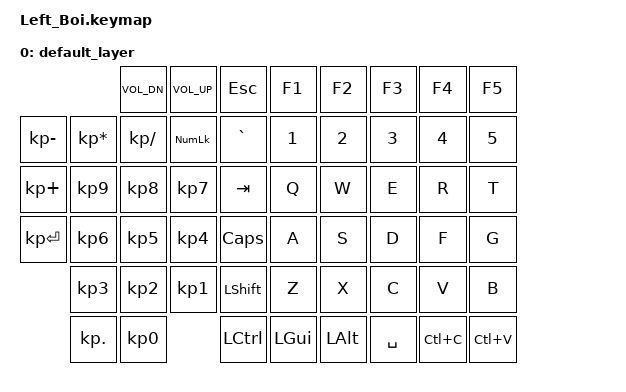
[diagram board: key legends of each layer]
/*
 * Copyright (c) 2020 The ZMK Contributors
 *
 * SPDX-License-Identifier: MIT
 */

#include <behaviors.dtsi>
#include <dt-bindings/zmk/bt.h>
#include <dt-bindings/zmk/keys.h>

/ {
    keymap {
        compatible = "zmk,keymap";

// ---------------------------------------------------------------------
// |  NA  |  NA  | MAC1 | MAC2 | |  ESC | F1  | F2  | F3  | F4  | F5  |       
// | Num- | Num* | Num/ | NumL | |   ~  |  1  |  2  |  3  |  4  |  5  |       
// | Num+ | Num9 | Num8 | Num7 | |  TAB |  Q  |  W  |  E  |  R  |  T  |      
// | NumE | Num6 | Num5 | Num4 | | CAPS |  A  |  S  |  D  |  F  |  G  |      
// |  NA  | Num3 | Num2 | Num1 | |SHIFT |  Z  |  X  |  C  |  V  |  B  |       
// |  NA  | Num. | Num0 |  NA  | | CTRL | WIN | ALT | SPA | MAC3| MAC4|        
// ---------------------------------------------------------------------

        default_layer {
            bindings = <
                                   &kp C_VOL_DN  &kp C_VOL_UP &kp ESC    &kp F1    &kp F2    &kp F3    &kp F4    &kp F5    
    &kp KP_MINUS   &kp KP_MULTIPLY &kp KP_SLASH  &kp KP_NUM   &kp GRAVE  &kp N1    &kp N2    &kp N3    &kp N4    &kp N5   
    &kp KP_PLUS    &kp KP_N9       &kp KP_N8     &kp KP_N7    &kp TAB    &kp Q     &kp W     &kp E     &kp R     &kp T    
    &kp KP_ENTER   &kp KP_N6       &kp KP_N5     &kp KP_N4    &kp CAPS   &kp A     &kp S     &kp D     &kp F     &kp G     
                   &kp KP_N3       &kp KP_N2     &kp KP_N1    &kp LSHFT  &kp Z     &kp X     &kp C     &kp V     &kp B   
                   &kp KP_DOT      &kp KP_N0                  &kp LCTRL  &kp LGUI  &kp LALT  &kp SPACE &kp LC(C) &kp LC(V) 
            >;
        };
    };
};
